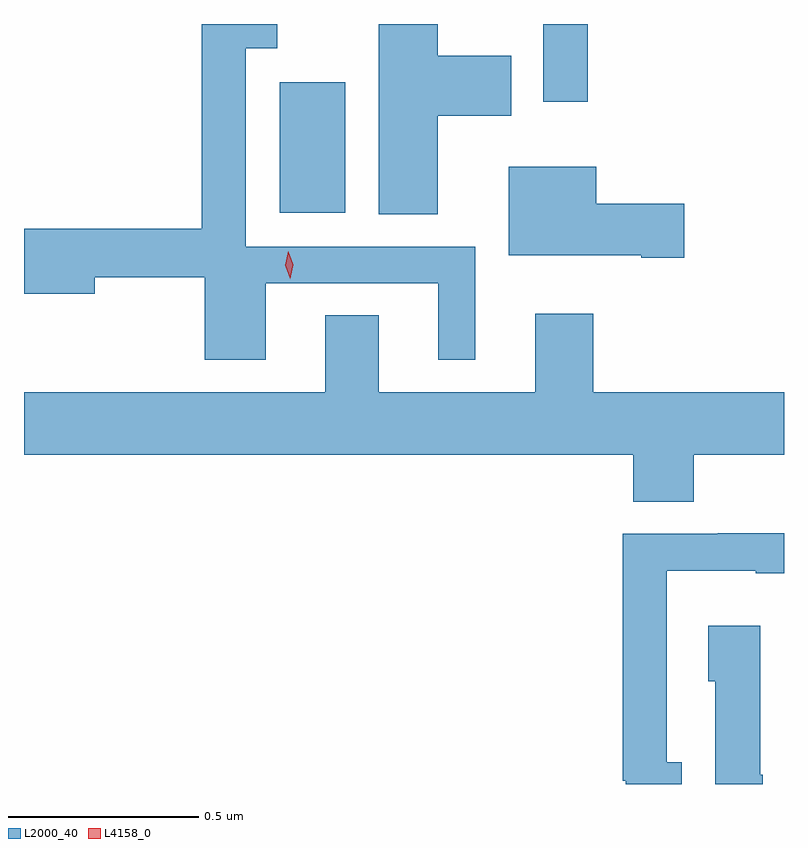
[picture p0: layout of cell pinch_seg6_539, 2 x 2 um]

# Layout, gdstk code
import gdstk
lib = gdstk.Library(unit=1e-6, precision=1e-09)
def R(c, l, rs):  # rectangles x0, y0, x1, y1
    for r in rs: c.add(gdstk.rectangle(r[:2], r[2:], *l))
def P(c, l, *ps):  # polygons
    for p in ps: c.add(gdstk.Polygon(p, *l))
L2000_40 = (2000, 40)
L4158_0 = (4158, 0)

pinch_seg6_539 = lib.new_cell('pinch_seg6_539')
R(pinch_seg6_539, L2000_40, [(821.999,945.308,822.172,945.652), (822.693,945.6,822.809,945.805)])
P(pinch_seg6_539, L2000_40, [(822.415,945.563),(822.608,945.563),(822.608,945.721),(822.415,945.721),(822.415,945.805),(822.26,945.805),(822.26,945.304),(822.415,945.304)],
  [(821.962,945.123),(822.416,945.123),(822.416,944.922),(822.514,944.922),(822.514,945.219),(821.91,945.219),(821.91,945.741),(821.992,945.741),(821.992,945.805),(821.794,945.805),(821.794,945.266),(821.326,945.266),(821.326,945.095),(821.512,945.095),(821.512,945.138),(821.801,945.138),(821.801,944.922),(821.962,944.922)],
  [(823.063,945.332),(822.832,945.332),(822.832,945.43),(822.602,945.43),(822.602,945.197),(822.95,945.197),(822.95,945.19),(823.063,945.19)],
  [(823.089,944.672),(823.326,944.672),(823.326,944.836),(822.824,944.836),(822.824,945.043),(822.671,945.043),(822.671,944.836),(822.259,944.836),(822.259,945.038),(822.119,945.038),(822.119,944.836),(821.326,944.836),(821.326,944.672),(822.929,944.672),(822.929,944.548),(823.089,944.548)],
  [(823.057,943.862),(823.017,943.862),(823.017,944.366),(823.251,944.366),(823.251,944.36),(823.326,944.36),(823.326,944.465),(823.151,944.465),(823.151,944.463),(822.901,944.463),(822.901,943.813),(822.909,943.813),(822.909,943.805),(823.057,943.805)],
  [(823.27,943.83),(823.264,943.83),(823.264,944.221),(823.127,944.221),(823.127,944.076),(823.145,944.076),(823.145,943.805),(823.27,943.805)])
P(pinch_seg6_539, L4158_0, [(822.026,945.135),(822.026,945.135),(822.014,945.17),(822.022,945.207),(822.022,945.207),(822.022,945.207),(822.034,945.171),(822.026,945.135)])

lib.write_gds('pinch_seg6_539.gds')
